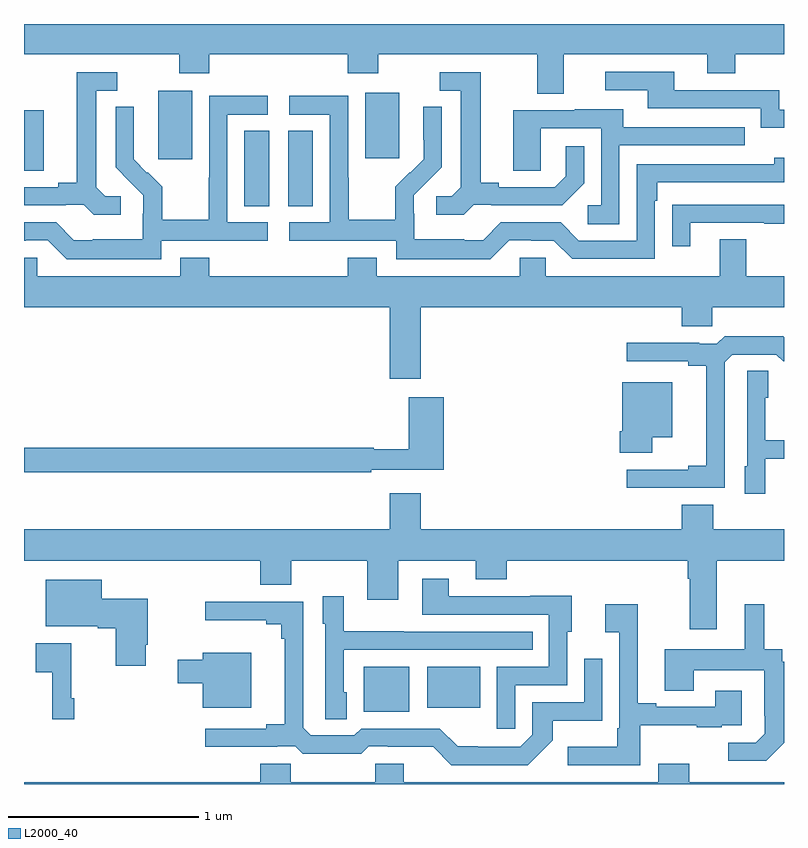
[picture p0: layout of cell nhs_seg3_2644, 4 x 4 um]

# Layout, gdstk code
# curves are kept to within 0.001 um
import gdstk
lib = gdstk.Library(unit=1e-6, precision=1e-09)
def R(c, l, rs):  # rectangles x0, y0, x1, y1
    for r in rs: c.add(gdstk.rectangle(r[:2], r[2:], *l))
def P(c, l, *ps):  # polygons
    for p in ps: c.add(gdstk.Polygon(p, *l))
L2000_40 = (2000, 40)

nhs_seg3_2644 = lib.new_cell('nhs_seg3_2644')
R(nhs_seg3_2644, L2000_40, [(248.789,706.781,249.028,707.017), (249.122,706.802,249.4,707.017), (248.159,709.441,248.29,709.838), (248.39,709.441,248.521,709.838), (247,709.627,247.105,709.947), (247.706,709.689,247.885,710.05), (248.795,709.694,248.974,710.038)])
P(nhs_seg3_2644, L2000_40, [(249.841,710.24),(250.595,710.24),(250.595,710.141),(250.743,710.141),(250.743,710.24),(251,710.24),(251,710.4),(247,710.4),(247,710.24),(247.816,710.24),(247.816,710.141),(247.976,710.141),(247.976,710.24),(248.705,710.24),(248.705,710.141),(248.865,710.141),(248.865,710.24),(249.701,710.24),(249.701,710.032),(249.841,710.032)],
  [(251,709.95),(250.974,709.95),(250.974,710.052),(250.423,710.052),(250.423,710.148),(250.059,710.148),(250.059,710.052),(250.283,710.052),(250.283,709.956),(250.878,709.956),(250.878,709.853),(251,709.853)],
  [(247.51,709.494),(247.428,709.494),(247.381,709.541),(247.381,710.049),(247.492,710.049),(247.492,710.145),(247.277,710.145),(247.277,709.565),(247.181,709.565),(247.181,709.542),(247,709.542),(247,709.446),(247.22,709.446),(247.22,709.449),(247.314,709.449),(247.366,709.397),(247.51,709.397)],
  [(249.366,709.449),(249.46,709.449),(249.46,709.446),(249.832,709.446),(249.948,709.562),(249.948,709.756),(249.851,709.756),(249.851,709.599),(249.794,709.542),(249.499,709.542),(249.499,709.565),(249.403,709.565),(249.403,710.145),(249.189,710.145),(249.189,710.049),(249.299,710.049),(249.299,709.541),(249.252,709.494),(249.171,709.494),(249.171,709.397),(249.314,709.397)],
  [(247.722,709.26),(248.284,709.26),(248.284,709.356),(248.07,709.356),(248.07,709.923),(248.284,709.923),(248.284,710.022),(247.974,710.022),(247.974,709.592),(247.972,709.592),(247.972,709.369),(247.727,709.369),(247.727,709.543),(247.65,709.62),(247.647,709.617),(247.577,709.688),(247.578,709.964),(247.482,709.964),(247.482,709.646),(247.628,709.498),(247.628,709.401),(247.626,709.401),(247.626,709.267),(247.363,709.267),(247.363,709.263),(247.263,709.263),(247.17,709.356),(247,709.356),(247,709.26),(247.01,709.26),(247.01,709.263),(247.125,709.263),(247.225,709.163),(247.722,709.163)],
  [(249.555,709.263),(249.671,709.263),(249.671,709.26),(249.789,709.26),(249.885,709.164),(250.32,709.164),(250.32,709.469),(250.333,709.469),(250.333,709.566),(251,709.566),(251,709.696),(250.949,709.696),(250.949,709.662),(250.224,709.662),(250.224,709.26),(249.921,709.26),(249.825,709.356),(249.51,709.356),(249.417,709.263),(249.317,709.263),(249.317,709.267),(249.054,709.267),(249.054,709.401),(249.052,709.401),(249.052,709.498),(249.198,709.646),(249.198,709.964),(249.102,709.964),(249.102,709.792),(249.104,709.792),(249.104,709.688),(249.033,709.617),(249.03,709.62),(248.953,709.543),(248.953,709.369),(248.709,709.369),(248.709,709.592),(248.706,709.592),(248.706,710.022),(248.397,710.022),(248.397,709.923),(248.61,709.923),(248.61,709.356),(248.397,709.356),(248.397,709.26),(248.958,709.26),(248.958,709.163),(249.455,709.163)],
  [(250.134,709.761),(250.793,709.761),(250.793,709.857),(250.153,709.857),(250.153,709.951),(249.899,709.951),(249.899,709.947),(249.575,709.947),(249.575,709.627),(249.72,709.627),(249.72,709.851),(250.038,709.851),(250.038,709.446),(249.966,709.446),(249.966,709.345),(250.134,709.345)],
  [(250.507,709.353),(250.897,709.353),(250.897,709.348),(251,709.348),(251,709.449),(250.513,709.449),(250.513,709.448),(250.411,709.448),(250.411,709.23),(250.507,709.23)],
  [(249.088,708.908),(250.463,708.908),(250.463,708.81),(250.623,708.81),(250.623,708.908),(251,708.908),(251,709.072),(250.801,709.072),(250.801,709.267),(250.661,709.267),(250.661,709.072),(249.747,709.072),(249.747,709.17),(249.609,709.17),(249.609,709.072),(248.857,709.072),(248.857,709.171),(248.705,709.171),(248.705,709.072),(247.976,709.072),(247.976,709.171),(247.823,709.171),(247.823,709.072),(247.071,709.072),(247.071,709.17),(247,709.17),(247,708.908),(248.924,708.908),(248.924,708.534),(249.088,708.534)],
  [(250.689,708.621),(250.728,708.66),(250.959,708.66),(250.995,708.624),(251,708.624),(251,708.752),(250.995,708.757),(250.687,708.757),(250.647,708.717),(250.553,708.717),(250.553,708.722),(250.173,708.722),(250.173,708.624),(250.496,708.624),(250.496,708.602),(250.592,708.602),(250.592,708.074),(250.496,708.074),(250.496,708.054),(250.173,708.054),(250.173,707.958),(250.689,707.958)],
  [(250.902,708.113),(251,708.113),(251,708.21),(250.902,708.21),(250.902,708.432),(250.918,708.432),(250.918,708.575),(250.806,708.575),(250.806,708.072),(250.793,708.072),(250.793,707.928),(250.902,707.928)],
  [(250.306,708.224),(250.411,708.224),(250.411,708.514),(250.148,708.514),(250.148,708.256),(250.136,708.256),(250.136,708.144),(250.306,708.144)],
  [(248.828,708.054),(249.209,708.054),(249.209,708.436),(249.026,708.436),(249.026,708.163),(248.842,708.163),(248.842,708.17),(247,708.17),(247,708.042),(248.828,708.042)],
  [(250.645,707.576),(251,707.576),(251,707.74),(250.627,707.74),(250.627,707.869),(250.463,707.869),(250.463,707.74),(249.088,707.74),(249.088,707.929),(248.924,707.929),(248.924,707.74),(247,707.74),(247,707.576),(248.243,707.576),(248.243,707.448),(248.407,707.448),(248.407,707.576),(248.807,707.576),(248.807,707.37),(248.971,707.37),(248.971,707.576),(249.377,707.576),(249.377,707.477),(249.541,707.477),(249.541,707.576),(250.493,707.576),(250.493,707.48),(250.505,707.48),(250.505,707.214),(250.645,707.214)],
  [(249.585,706.92),(249.858,706.92),(249.858,707.202),(249.883,707.202),(249.883,707.39),(249.665,707.39),(249.665,707.388),(249.235,707.388),(249.235,707.479),(249.095,707.479),(249.095,707.292),(249.762,707.292),(249.762,707.016),(249.489,707.016),(249.489,706.692),(249.585,706.692)],
  [(247.642,707.134),(247.65,707.134),(247.65,707.374),(247.408,707.374),(247.408,707.476),(247.115,707.476),(247.115,707.231),(247.388,707.231),(247.388,707.219),(247.484,707.219),(247.484,707.022),(247.642,707.022)],
  [(248.698,706.884),(248.682,706.884),(248.682,707.106),(249.677,707.106),(249.677,707.202),(248.999,707.202),(248.999,707.203),(248.682,707.203),(248.682,707.389),(248.573,707.389),(248.573,707.244),(248.586,707.244),(248.586,706.741),(248.698,706.741)],
  [(249.783,706.631),(249.783,706.733),(250.044,706.733),(250.044,707.059),(249.948,707.059),(249.948,706.83),(249.675,706.83),(249.675,706.659),(249.612,706.596),(249.388,706.596),(249.388,706.598),(249.284,706.598),(249.189,706.692),(248.775,706.692),(248.739,706.656),(248.508,706.656),(248.469,706.695),(248.469,707.358),(247.953,707.358),(247.953,707.261),(248.276,707.261),(248.276,707.242),(248.353,707.242),(248.353,707.165),(248.372,707.165),(248.372,706.715),(248.276,706.715),(248.276,706.692),(247.953,706.692),(247.953,706.595),(248.333,706.595),(248.333,706.599),(248.427,706.599),(248.467,706.56),(248.775,706.56),(248.814,706.599),(248.914,706.599),(248.914,706.595),(249.155,706.595),(249.249,706.5),(249.652,706.5)],
  [(251,706.616),(251,707.044),(250.992,707.044),(250.992,707.108),(250.897,707.108),(250.897,707.347),(250.793,707.347),(250.793,707.11),(250.373,707.11),(250.373,706.891),(250.525,706.891),(250.525,707),(250.896,707),(250.896,706.759),(250.898,706.759),(250.898,706.664),(250.851,706.617),(250.707,706.617),(250.707,706.523),(250.907,706.523)],
  [(250.243,706.709),(250.541,706.709),(250.541,706.698),(250.673,706.698),(250.673,706.71),(250.777,706.71),(250.777,706.891),(250.637,706.891),(250.637,706.806),(250.327,706.806),(250.327,706.825),(250.231,706.825),(250.231,707.347),(250.059,707.347),(250.059,707.198),(250.134,707.198),(250.134,706.693),(250.122,706.693),(250.122,706.597),(249.861,706.597),(249.861,706.5),(250.243,706.5)],
  [(247.265,706.852),(247.248,706.852),(247.248,707.14),(247.062,707.14),(247.062,706.988),(247.148,706.988),(247.148,706.74),(247.265,706.74)],
  [(248.197,707.092),(247.94,707.092),(247.94,707.053),(247.809,707.053),(247.809,706.931),(247.94,706.931),(247.94,706.802),(248.197,706.802)],
  [(251,706.408),(250.501,706.408),(250.501,706.507),(250.337,706.507),(250.337,706.408),(248.998,706.408),(248.998,706.506),(248.848,706.506),(248.848,706.408),(248.403,706.408),(248.403,706.506),(248.243,706.506),(248.243,706.408),(247,706.408),(247,706.4),(251,706.4)])

lib.write_gds('nhs_seg3_2644.gds')
